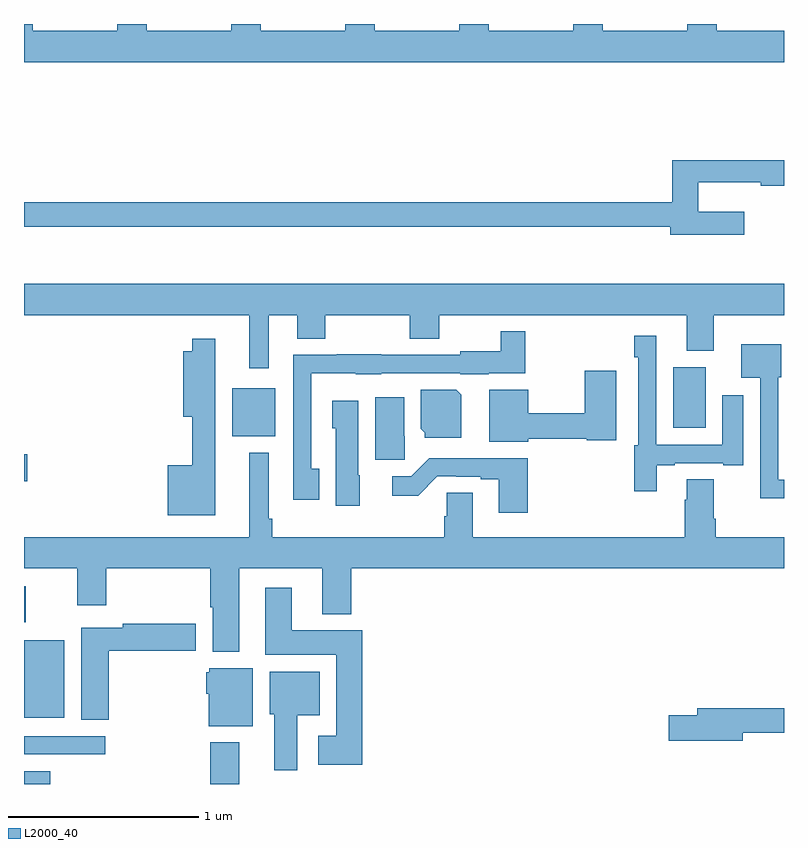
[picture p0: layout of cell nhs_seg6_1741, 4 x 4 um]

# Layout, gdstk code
import gdstk
lib = gdstk.Library(unit=1e-6, precision=1e-09)
def R(c, l, rs):  # rectangles x0, y0, x1, y1
    for r in rs: c.add(gdstk.rectangle(r[:2], r[2:], *l))
def P(c, l, *ps):  # polygons
    for p in ps: c.add(gdstk.Polygon(p, *l))
L2000_40 = (2000, 40)

nhs_seg6_1741 = lib.new_cell('nhs_seg6_1741')
R(nhs_seg6_1741, L2000_40, [(215,979.5,215.138,979.567), (215.981,979.5,216.133,979.72), (215,979.656,215.428,979.752), (215,979.85,215.212,980.257), (215,980.352,215.008,980.542), (215,981.094,215.017,981.236), (216.095,981.329,216.322,981.583), (218.417,981.374,218.587,981.694)])
P(nhs_seg6_1741, L2000_40, [(219,983.464),(218.646,983.464),(218.646,983.5),(218.491,983.5),(218.491,983.464),(218.046,983.464),(218.046,983.5),(217.891,983.5),(217.891,983.464),(217.446,983.464),(217.446,983.5),(217.291,983.5),(217.291,983.464),(216.846,983.464),(216.846,983.5),(216.691,983.5),(216.691,983.464),(216.246,983.464),(216.246,983.5),(216.091,983.5),(216.091,983.464),(215.646,983.464),(215.646,983.5),(215.491,983.5),(215.491,983.464),(215.046,983.464),(215.046,983.5),(215,983.5),(215,983.3),(219,983.3)],
  [(218.791,982.513),(218.549,982.513),(218.549,982.667),(218.878,982.667),(218.878,982.648),(219,982.648),(219,982.784),(218.413,982.784),(218.413,982.562),(215,982.562),(215,982.434),(218.402,982.434),(218.402,982.391),(218.791,982.391)],
  [(216.289,981.968),(216.437,981.968),(216.437,981.844),(216.585,981.844),(216.585,981.968),(217.03,981.968),(217.03,981.844),(217.185,981.844),(217.185,981.968),(218.489,981.968),(218.489,981.779),(218.629,981.779),(218.629,981.968),(219,981.968),(219,982.132),(215,982.132),(215,981.968),(216.185,981.968),(216.185,981.687),(216.289,981.687)],
  [(216.553,981.158),(216.513,981.158),(216.513,981.662),(216.747,981.662),(216.747,981.656),(216.879,981.656),(216.879,981.663),(217.296,981.663),(217.296,981.656),(217.446,981.656),(217.446,981.662),(217.637,981.662),(217.637,981.883),(217.509,981.883),(217.509,981.778),(217.296,981.778),(217.296,981.759),(216.879,981.759),(216.879,981.761),(216.647,981.761),(216.647,981.759),(216.417,981.759),(216.417,980.997),(216.553,980.997)],
  [(218.329,981.177),(218.425,981.177),(218.425,981.189),(218.681,981.189),(218.681,981.177),(218.785,981.177),(218.785,981.547),(218.675,981.547),(218.675,981.285),(218.328,981.285),(218.328,981.859),(218.212,981.859),(218.212,981.746),(218.232,981.746),(218.232,981.282),(218.212,981.282),(218.212,981.042),(218.329,981.042)],
  [(216.007,981.844),(215.886,981.844),(215.886,981.778),(215.837,981.778),(215.837,981.434),(215.886,981.434),(215.886,981.178),(215.756,981.178),(215.756,980.915),(216.007,980.915)],
  [(219,981.102),(218.97,981.102),(218.97,981.642),(218.986,981.642),(218.986,981.814),(218.774,981.814),(218.774,981.638),(218.874,981.638),(218.874,981.005),(219,981.005)],
  [(217.654,981.316),(217.962,981.316),(217.962,981.308),(218.116,981.308),(218.116,981.676),(217.951,981.676),(217.951,981.452),(217.654,981.452),(217.654,981.574),(217.448,981.574),(217.448,981.302),(217.654,981.302)],
  [(217.3,981.548),(217.274,981.574),(217.088,981.574),(217.088,981.37),(217.11,981.348),(217.11,981.323),(217.3,981.323)],
  [(217.004,981.33),(217,981.33),(217,981.535),(216.848,981.535),(216.848,981.207),(217.004,981.207)],
  [(216.766,981.126),(216.76,981.126),(216.76,981.517),(216.623,981.517),(216.623,981.372),(216.641,981.372),(216.641,980.964),(216.766,980.964)],
  [(216.133,980.636),(216.569,980.636),(216.569,980.393),(216.722,980.393),(216.722,980.636),(219,980.636),(219,980.8),(218.642,980.8),(218.642,980.896),(218.629,980.896),(218.629,981.104),(218.489,981.104),(218.489,980.996),(218.477,980.996),(218.477,980.8),(217.363,980.8),(217.363,981.032),(217.224,981.032),(217.224,980.91),(217.211,980.91),(217.211,980.8),(216.307,980.8),(216.307,980.896),(216.289,980.896),(216.289,981.244),(216.185,981.244),(216.185,980.8),(215,980.8),(215,980.636),(215.279,980.636),(215.279,980.442),(215.432,980.442),(215.432,980.636),(215.981,980.636),(215.981,980.431),(215.993,980.431),(215.993,980.195),(216.133,980.195)],
  [(217.652,981.214),(217.132,981.214),(217.038,981.12),(216.939,981.12),(216.939,981.018),(217.074,981.018),(217.176,981.12),(217.276,981.12),(217.276,981.117),(217.403,981.117),(217.403,981.105),(217.499,981.105),(217.499,980.928),(217.652,980.928)],
  [(216.779,980.308),(216.409,980.308),(216.409,980.533),(216.269,980.533),(216.269,980.18),(216.644,980.18),(216.644,979.753),(216.549,979.753),(216.549,979.601),(216.779,979.601)],
  [(215.447,980.201),(215.905,980.201),(215.905,980.343),(215.52,980.343),(215.52,980.323),(215.3,980.323),(215.3,979.837),(215.447,979.837)],
  [(216.205,980.11),(215.976,980.11),(215.976,980.088),(215.96,980.088),(215.96,979.974),(215.972,979.974),(215.972,979.805),(216.205,979.805)],
  [(216.439,979.862),(216.556,979.862),(216.556,980.092),(216.293,980.092),(216.293,979.866),(216.317,979.866),(216.317,979.572),(216.439,979.572)],
  [(218.782,979.77),(219,979.77),(219,979.898),(218.543,979.898),(218.543,979.862),(218.394,979.862),(218.394,979.727),(218.782,979.727)])

lib.write_gds('nhs_seg6_1741.gds')
